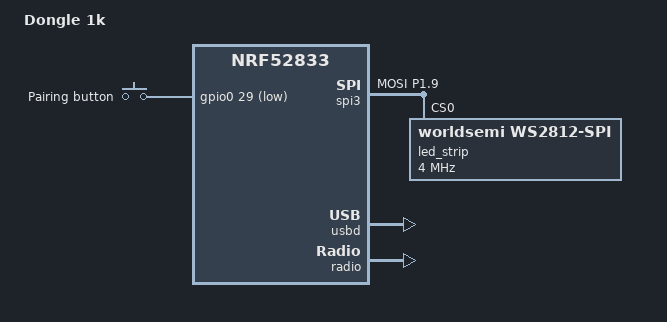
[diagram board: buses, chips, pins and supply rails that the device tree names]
/dts-v1/;
#include <nordic/nrf52833_qiaa.dtsi>
#include <dt-bindings/led/led.h>

/ {
	model = "Dongle 1k";
	compatible = "efogtech,dongle";

	chosen {
		zephyr,code-partition = &code_partition;
		zephyr,sram = &sram0;
		zephyr,flash = &flash0;
		zephyr,led-strip = &led_strip;
		zephyr,console = &cdc_acm_console_uart;
	};

	buttons {
		compatible = "gpio-keys";
		pair_btn: pair_btn {
			gpios = <&gpio0 29 (GPIO_ACTIVE_LOW | GPIO_PULL_UP)>;
			label = "Pairing button";
		};
	};
};

&pinctrl {
	spi3_default: spi3_default {
		group1 {
			psels = <NRF_PSEL(SPIM_MOSI, 1, 9)>;
		};
	};

	spi3_sleep: spi3_sleep {
		group1 {
			psels = <NRF_PSEL(SPIM_MOSI, 1, 9)>;
			low-power-enable;
		};
	};
};

&spi3 {
	compatible = "nordic,nrf-spim";
	status = "okay";
	pinctrl-0 = <&spi3_default>;
	pinctrl-1 = <&spi3_sleep>;
	pinctrl-names = "default", "sleep";

	led_strip: ws2812@0 {
		compatible = "worldsemi,ws2812-spi";
		reg = <0>;
		spi-max-frequency = <4000000>;
		chain-length = <1>;
		color-mapping = <LED_COLOR_ID_GREEN LED_COLOR_ID_RED LED_COLOR_ID_BLUE>;
		spi-one-frame = <0x70>;
		spi-zero-frame = <0x40>;
	};
};

&gpio0 {
	status = "okay";
};

zephyr_udc0: &usbd {
	status = "okay";

	cdc_acm_console_uart: cdc_acm_console_uart {
		compatible = "zephyr,cdc-acm-uart";
	};
};

&radio {
	status = "okay";
};

&flash0 {
	partitions {
		compatible = "fixed-partitions";
		#address-cells = <1>;
		#size-cells = <1>;

		sd_partition: partition@0 {
			reg = <0x0 DT_SIZE_K(4)>;
		};

		code_partition: partition@1000 {
			reg = <DT_SIZE_K(4) DT_SIZE_K(428)>;
		};

		storage_partition: partition@6c000 {
			reg = <0x0006c000 0x00008000>;
		};
	};
};
